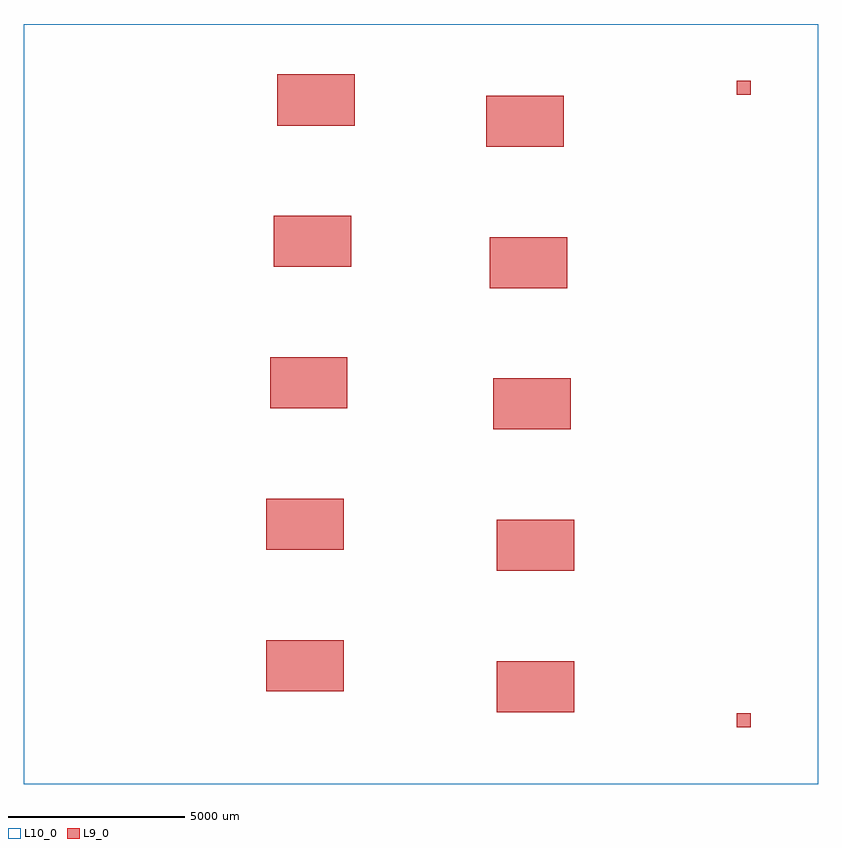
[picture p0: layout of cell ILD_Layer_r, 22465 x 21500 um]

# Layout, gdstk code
import gdstk
lib = gdstk.Library(unit=1e-6, precision=1e-09)
def R(c, l, rs):  # rectangles x0, y0, x1, y1
    for r in rs: c.add(gdstk.rectangle(r[:2], r[2:], *l))
L9_0 = (9, 0)
L10_0 = (10, 0)

ild_layer_r = lib.new_cell('ILD_Layer_r')
R(ild_layer_r, L9_0, [(9993.29,-9143.812,10383.29,-8753.812), (3205.334,-8723.631,5397.334,-7280.631), (-3310.666,-8124.132,-1118.666,-6681.132), (3205.334,-4723.631,5397.334,-3280.631), (-3310.666,-4124.132,-1118.666,-2681.132), (3105.334,-723.631,5297.334,719.369), (-3210.666,-124.132,-1018.666,1318.868), (3005.334,3276.37,5197.334,4719.37), (-3110.666,3875.869,-918.666,5318.869), (2905.334,7276.37,5097.334,8719.37), (-3010.666,7875.869,-818.666,9318.869), (9993.29,8748.688,10383.29,9138.688)])
R(ild_layer_r, L10_0, [(-10171.71,-10752.562,12293.29,10747.438)])

lib.write_gds('ILD_Layer_r.gds')
